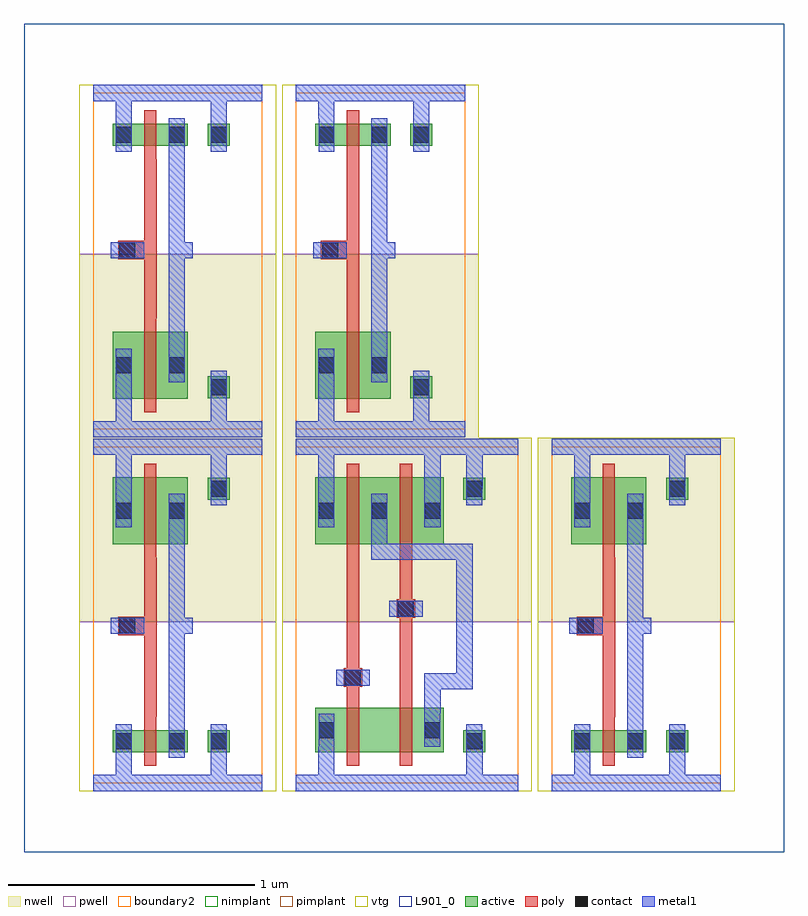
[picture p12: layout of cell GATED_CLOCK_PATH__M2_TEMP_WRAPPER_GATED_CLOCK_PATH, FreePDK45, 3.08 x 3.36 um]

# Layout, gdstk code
import gdstk
lib = gdstk.Library(unit=1e-6, precision=1e-09)
def R(c, l, rs):  # rectangles x0, y0, x1, y1
    for r in rs: c.add(gdstk.rectangle(r[:2], r[2:], *l))
active = (1, 0)
pwell = (2, 0)
nwell = (3, 0)
nimplant = (4, 0)
pimplant = (5, 0)
vtg = (6, 0)
poly = (9, 0)
contact = (10, 0)
metal1 = (11, 0)
boundary2 = (239, 0)
L901_0 = (901, 0)

gated_clock_path__gated_ = lib.new_cell('GATED_CLOCK_PATH__GATED_CLOCK_PATH__sram_1rw_32x16_freepdk45_contact_11')
R(gated_clock_path__gated_, active, [(0,0.022,0.09,0.112)])
R(gated_clock_path__gated_, nwell, [(-0.055,-0.033,0.145,0.168)])
R(gated_clock_path__gated_, pimplant, [(0,0.022,0.09,0.112)])
R(gated_clock_path__gated_, contact, [(0.013,0.035,0.077,0.1)])
R(gated_clock_path__gated_, metal1, [(0.013,0,0.077,0.135)])
R(gated_clock_path__gated_, boundary2, [(-0.055,-0.033,0.145,0.168)])

c_gated_clock_path__gated_ = lib.new_cell('GATED_CLOCK_PATH__GATED_CLOCK_PATH__sram_1rw_32x16_freepdk45_pmos_m1_w0_270_sm1_dm1_da_p')
R(c_gated_clock_path__gated_, active, [(0,0,0.305,0.27)])
R(c_gated_clock_path__gated_, nwell, [(-0.08,-0.08,0.385,0.35)])
R(c_gated_clock_path__gated_, pimplant, [(0,0,0.305,0.27)])
R(c_gated_clock_path__gated_, vtg, [(-0.08,-0.08,0.385,0.35)])
R(c_gated_clock_path__gated_, poly, [(0.127,-0.055,0.177,0.325), (0.127,-0.055,0.177,0.325)])
R(c_gated_clock_path__gated_, metal1, [(0.013,0.068,0.077,0.203), (0.227,0.068,0.292,0.203)])
R(c_gated_clock_path__gated_, boundary2, [(-0.08,-0.08,0.385,0.35)])
c_gated_clock_path__gated_.add(gdstk.Reference(gated_clock_path__gated_, (0,0.068)))
c_gated_clock_path__gated_.add(gdstk.Reference(gated_clock_path__gated_, (0.215,0.068)))
c_gated_clock_path__gated_.add(gdstk.Label('G', (0.152,0.135), layer=9, texttype=0))
c_gated_clock_path__gated_.add(gdstk.Label('S', (0.045,0.135), layer=11, texttype=0))
c_gated_clock_path__gated_.add(gdstk.Label('D', (0.26,0.135), layer=11, texttype=0))

c_gated_clock_path__gated__ = lib.new_cell('GATED_CLOCK_PATH__GATED_CLOCK_PATH__sram_1rw_32x16_freepdk45_contact_10')
R(c_gated_clock_path__gated__, active, [(0,0.022,0.09,0.112)])
R(c_gated_clock_path__gated__, pwell, [(-0.055,-0.033,0.145,0.168)])
R(c_gated_clock_path__gated__, nimplant, [(0,0.022,0.09,0.112)])
R(c_gated_clock_path__gated__, contact, [(0.013,0.035,0.077,0.1)])
R(c_gated_clock_path__gated__, metal1, [(0.013,0,0.077,0.135)])
R(c_gated_clock_path__gated__, boundary2, [(-0.055,-0.033,0.145,0.168)])

c_gated_clock_path__gated___ = lib.new_cell('GATED_CLOCK_PATH__GATED_CLOCK_PATH__sram_1rw_32x16_freepdk45_nmos_m1_w0_090_sm1_dm1_da_p')
R(c_gated_clock_path__gated___, active, [(0,0,0.305,0.09)])
R(c_gated_clock_path__gated___, pwell, [(-0.08,-0.08,0.385,0.17)])
R(c_gated_clock_path__gated___, nimplant, [(0,0,0.305,0.09)])
R(c_gated_clock_path__gated___, vtg, [(-0.08,-0.08,0.385,0.17)])
R(c_gated_clock_path__gated___, poly, [(0.127,-0.055,0.177,0.145), (0.127,-0.055,0.177,0.145)])
R(c_gated_clock_path__gated___, metal1, [(0.013,-0.022,0.077,0.112), (0.227,-0.022,0.292,0.112)])
R(c_gated_clock_path__gated___, boundary2, [(-0.08,-0.08,0.385,0.17)])
c_gated_clock_path__gated___.add(gdstk.Reference(c_gated_clock_path__gated__, (0,-0.022)))
c_gated_clock_path__gated___.add(gdstk.Reference(c_gated_clock_path__gated__, (0.215,-0.022)))
c_gated_clock_path__gated___.add(gdstk.Label('G', (0.152,0.045), layer=9, texttype=0))
c_gated_clock_path__gated___.add(gdstk.Label('S', (0.045,0.045), layer=11, texttype=0))
c_gated_clock_path__gated___.add(gdstk.Label('D', (0.26,0.045), layer=11, texttype=0))

c_gated_clock_path__gated____ = lib.new_cell('GATED_CLOCK_PATH__GATED_CLOCK_PATH__sram_1rw_32x16_freepdk45_contact_12')
R(c_gated_clock_path__gated____, active, [(0,0.022,0.09,0.112)])
R(c_gated_clock_path__gated____, nwell, [(-0.055,-0.033,0.145,0.168)])
R(c_gated_clock_path__gated____, nimplant, [(0,0.022,0.09,0.112)])
R(c_gated_clock_path__gated____, contact, [(0.013,0.035,0.077,0.1)])
R(c_gated_clock_path__gated____, metal1, [(0.013,0,0.077,0.135)])
R(c_gated_clock_path__gated____, boundary2, [(-0.055,-0.033,0.145,0.168)])

c_gated_clock_path__gated_____ = lib.new_cell('GATED_CLOCK_PATH__GATED_CLOCK_PATH__sram_1rw_32x16_freepdk45_contact_13')
R(c_gated_clock_path__gated_____, active, [(0,0.022,0.09,0.112)])
R(c_gated_clock_path__gated_____, pwell, [(-0.055,-0.033,0.145,0.168)])
R(c_gated_clock_path__gated_____, pimplant, [(0,0.022,0.09,0.112)])
R(c_gated_clock_path__gated_____, contact, [(0.013,0.035,0.077,0.1)])
R(c_gated_clock_path__gated_____, metal1, [(0.013,0,0.077,0.135)])
R(c_gated_clock_path__gated_____, boundary2, [(-0.055,-0.033,0.145,0.168)])

c_gated_clock_path__gated______ = lib.new_cell('GATED_CLOCK_PATH__GATED_CLOCK_PATH__sram_1rw_32x16_freepdk45_contact_14')
R(c_gated_clock_path__gated______, poly, [(0.03,0,0.105,0.075)])
R(c_gated_clock_path__gated______, contact, [(0.035,0.005,0.1,0.07)])
R(c_gated_clock_path__gated______, metal1, [(0,0.005,0.135,0.07)])
R(c_gated_clock_path__gated______, boundary2, [(0,0,0.135,0.075)])

c_gated_clock_path__gated_______ = lib.new_cell('GATED_CLOCK_PATH__GATED_CLOCK_PATH__gen_inv')
R(c_gated_clock_path__gated_______, pwell, [(-0.055,-0.033,0.743,0.655)])
R(c_gated_clock_path__gated_______, nwell, [(-0.055,0.655,0.743,1.4)])
R(c_gated_clock_path__gated_______, vtg, [(-0.055,-0.033,0.743,0.655), (-0.055,0.655,0.743,1.4)])
R(c_gated_clock_path__gated_______, poly, [(0.208,0.27,0.258,0.915), (0.14,0.6,0.208,0.675)])
R(c_gated_clock_path__gated_______, metal1, [(0,-0.033,0.687,0.033), (0.092,-0.033,0.157,0.103), (0.478,0,0.542,0.17), (0.307,0.103,0.372,1.173), (0.072,0.605,0.208,0.67), (0.34,0.605,0.405,0.67), (0.092,1.038,0.157,1.397), (0.478,1.195,0.542,1.365), (0,1.332,0.687,1.397)])
R(c_gated_clock_path__gated_______, boundary2, [(0,0,0.687,1.365), (0,0,0.687,1.365)])
c_gated_clock_path__gated_______.add(gdstk.Reference(c_gated_clock_path__gated_, (0.08,0.97)))
c_gated_clock_path__gated_______.add(gdstk.Reference(c_gated_clock_path__gated___, (0.08,0.125)))
c_gated_clock_path__gated_______.add(gdstk.Reference(c_gated_clock_path__gated____, (0.465,1.127)))
c_gated_clock_path__gated_______.add(gdstk.Reference(c_gated_clock_path__gated_____, (0.465,0.103)))
c_gated_clock_path__gated_______.add(gdstk.Reference(c_gated_clock_path__gated______, (0.072,0.6)))
c_gated_clock_path__gated_______.add(gdstk.Label('A', (0.14,0.638), layer=11, texttype=0))
c_gated_clock_path__gated_______.add(gdstk.Label('Z', (0.372,0.638), layer=11, texttype=0))
c_gated_clock_path__gated_______.add(gdstk.Label('gnd', (0.345,0), layer=11, texttype=0))
c_gated_clock_path__gated_______.add(gdstk.Label('vdd', (0.345,1.365), layer=11, texttype=0))

c_gated_clock_path__gated________ = lib.new_cell('GATED_CLOCK_PATH__GATED_CLOCK_PATH__sram_1rw_32x16_freepdk45_contact_11__gen_nand2')
R(c_gated_clock_path__gated________, active, [(0,0.022,0.09,0.112)])
R(c_gated_clock_path__gated________, nwell, [(-0.055,-0.033,0.145,0.168)])
R(c_gated_clock_path__gated________, pimplant, [(0,0.022,0.09,0.112)])
R(c_gated_clock_path__gated________, contact, [(0.013,0.035,0.077,0.1)])
R(c_gated_clock_path__gated________, metal1, [(0.013,0,0.077,0.135)])
R(c_gated_clock_path__gated________, boundary2, [(-0.055,-0.033,0.145,0.168)])

c_gated_clock_path__gated_________ = lib.new_cell('GATED_CLOCK_PATH__GATED_CLOCK_PATH__sram_1rw_32x16_freepdk45_pmos_m1_w0_270_sm1_dm1')
R(c_gated_clock_path__gated_________, active, [(0,0,0.305,0.27)])
R(c_gated_clock_path__gated_________, nwell, [(-0.08,-0.08,0.385,0.35)])
R(c_gated_clock_path__gated_________, pimplant, [(0,0,0.305,0.27)])
R(c_gated_clock_path__gated_________, vtg, [(-0.08,-0.08,0.385,0.35)])
R(c_gated_clock_path__gated_________, poly, [(0.127,-0.055,0.177,0.325), (0.127,-0.055,0.177,0.325)])
R(c_gated_clock_path__gated_________, metal1, [(0.013,0.068,0.077,0.203), (0.227,0.068,0.292,0.203)])
R(c_gated_clock_path__gated_________, boundary2, [(-0.08,-0.08,0.385,0.35)])
c_gated_clock_path__gated_________.add(gdstk.Reference(c_gated_clock_path__gated________, (0,0.068)))
c_gated_clock_path__gated_________.add(gdstk.Reference(c_gated_clock_path__gated________, (0.215,0.068)))
c_gated_clock_path__gated_________.add(gdstk.Label('G', (0.152,0.135), layer=9, texttype=0))
c_gated_clock_path__gated_________.add(gdstk.Label('S', (0.045,0.135), layer=11, texttype=0))
c_gated_clock_path__gated_________.add(gdstk.Label('D', (0.26,0.135), layer=11, texttype=0))

c_gated_clock_path__gated__________ = lib.new_cell('GATED_CLOCK_PATH__GATED_CLOCK_PATH__sram_1rw_32x16_freepdk45_contact_10__gen_nand2')
R(c_gated_clock_path__gated__________, active, [(0,0.022,0.09,0.112)])
R(c_gated_clock_path__gated__________, pwell, [(-0.055,-0.033,0.145,0.168)])
R(c_gated_clock_path__gated__________, nimplant, [(0,0.022,0.09,0.112)])
R(c_gated_clock_path__gated__________, contact, [(0.013,0.035,0.077,0.1)])
R(c_gated_clock_path__gated__________, metal1, [(0.013,0,0.077,0.135)])
R(c_gated_clock_path__gated__________, boundary2, [(-0.055,-0.033,0.145,0.168)])

c_gated_clock_path__gated___________ = lib.new_cell('GATED_CLOCK_PATH__GATED_CLOCK_PATH__sram_1rw_32x16_freepdk45_nmos_m1_w0_180_sm1_dactive')
R(c_gated_clock_path__gated___________, active, [(0,0,0.305,0.18), (0.215,0.045,0.305,0.135)])
R(c_gated_clock_path__gated___________, pwell, [(-0.08,-0.08,0.385,0.26)])
R(c_gated_clock_path__gated___________, nimplant, [(0,0,0.305,0.18)])
R(c_gated_clock_path__gated___________, vtg, [(-0.08,-0.08,0.385,0.26)])
R(c_gated_clock_path__gated___________, poly, [(0.127,-0.055,0.177,0.235), (0.127,-0.055,0.177,0.235)])
R(c_gated_clock_path__gated___________, metal1, [(0.013,0.022,0.077,0.157)])
R(c_gated_clock_path__gated___________, boundary2, [(-0.08,-0.08,0.385,0.26)])
c_gated_clock_path__gated___________.add(gdstk.Reference(c_gated_clock_path__gated__________, (0,0.022)))
c_gated_clock_path__gated___________.add(gdstk.Label('G', (0.152,0.09), layer=9, texttype=0))
c_gated_clock_path__gated___________.add(gdstk.Label('S', (0.045,0.09), layer=11, texttype=0))
c_gated_clock_path__gated___________.add(gdstk.Label('D', (0.26,0.09), layer=1, texttype=0))

c_gated_clock_path__gated____________ = lib.new_cell('GATED_CLOCK_PATH__GATED_CLOCK_PATH__sram_1rw_32x16_freepdk45_nmos_m1_w0_180_sactive_dm1')
R(c_gated_clock_path__gated____________, active, [(0,0,0.305,0.18), (0,0.045,0.09,0.135)])
R(c_gated_clock_path__gated____________, pwell, [(-0.08,-0.08,0.385,0.26)])
R(c_gated_clock_path__gated____________, nimplant, [(0,0,0.305,0.18)])
R(c_gated_clock_path__gated____________, vtg, [(-0.08,-0.08,0.385,0.26)])
R(c_gated_clock_path__gated____________, poly, [(0.127,-0.055,0.177,0.235), (0.127,-0.055,0.177,0.235)])
R(c_gated_clock_path__gated____________, metal1, [(0.227,0.022,0.292,0.157)])
R(c_gated_clock_path__gated____________, boundary2, [(-0.08,-0.08,0.385,0.26)])
c_gated_clock_path__gated____________.add(gdstk.Reference(c_gated_clock_path__gated__________, (0.215,0.022)))
c_gated_clock_path__gated____________.add(gdstk.Label('G', (0.152,0.09), layer=9, texttype=0))
c_gated_clock_path__gated____________.add(gdstk.Label('S', (0.045,0.09), layer=1, texttype=0))
c_gated_clock_path__gated____________.add(gdstk.Label('D', (0.26,0.09), layer=11, texttype=0))

c_gated_clock_path__gated_____________ = lib.new_cell('GATED_CLOCK_PATH__GATED_CLOCK_PATH__gen_nand2')
R(c_gated_clock_path__gated_____________, pwell, [(-0.055,-0.033,0.957,0.655)])
R(c_gated_clock_path__gated_____________, nwell, [(-0.055,0.655,0.957,1.4)])
R(c_gated_clock_path__gated_____________, vtg, [(-0.055,-0.033,0.957,0.655), (-0.055,0.655,0.957,1.4)])
R(c_gated_clock_path__gated_____________, poly, [(0.208,0.36,0.258,0.915), (0.422,0.36,0.473,0.915), (0.208,0.39,0.232,0.465), (0.422,0.67,0.447,0.745)])
R(c_gated_clock_path__gated_____________, metal1, [(0,-0.033,0.902,0.033), (0.092,-0.033,0.157,0.147), (0.692,0,0.758,0.17), (0.522,0.283,0.588,0.413), (0.522,0.38,0.588,0.445), (0.555,0.38,0.685,0.445), (0.652,0.38,0.718,0.445), (0.165,0.395,0.3,0.46), (0.652,0.413,0.718,0.94), (0.38,0.675,0.515,0.74), (0.307,0.907,0.372,0.972), (0.34,0.907,0.685,0.972), (0.652,0.907,0.718,0.972), (0.307,0.94,0.372,1.038), (0.092,1.038,0.157,1.397), (0.522,1.038,0.588,1.397), (0.692,1.195,0.758,1.365), (0,1.332,0.902,1.397)])
R(c_gated_clock_path__gated_____________, boundary2, [(0,0,0.902,1.365), (0,0,0.902,1.365)])
c_gated_clock_path__gated_____________.add(gdstk.Reference(c_gated_clock_path__gated_________, (0.08,0.97)))
c_gated_clock_path__gated_____________.add(gdstk.Reference(c_gated_clock_path__gated_________, (0.295,0.97)))
c_gated_clock_path__gated_____________.add(gdstk.Reference(c_gated_clock_path__gated___________, (0.08,0.125)))
c_gated_clock_path__gated_____________.add(gdstk.Reference(c_gated_clock_path__gated____________, (0.295,0.125)))
c_gated_clock_path__gated_____________.add(gdstk.Reference(c_gated_clock_path__gated____, (0.68,1.127)))
c_gated_clock_path__gated_____________.add(gdstk.Reference(c_gated_clock_path__gated_____, (0.68,0.103)))
c_gated_clock_path__gated_____________.add(gdstk.Reference(c_gated_clock_path__gated______, (0.165,0.39)))
c_gated_clock_path__gated_____________.add(gdstk.Reference(c_gated_clock_path__gated______, (0.38,0.67)))
c_gated_clock_path__gated_____________.add(gdstk.Label('Z', (0.685,0.94), layer=11, texttype=0))
c_gated_clock_path__gated_____________.add(gdstk.Label('gnd', (0.45,0), layer=11, texttype=0))
c_gated_clock_path__gated_____________.add(gdstk.Label('vdd', (0.45,1.365), layer=11, texttype=0))
c_gated_clock_path__gated_____________.add(gdstk.Label('A', (0.232,0.427), layer=11, texttype=0))
c_gated_clock_path__gated_____________.add(gdstk.Label('B', (0.447,0.707), layer=11, texttype=0))

c_gated_clock_path__gated______________ = lib.new_cell('GATED_CLOCK_PATH__GATED_CLOCK_PATH__GATED_CLOCK_PATH')
c_gated_clock_path__gated______________.add(gdstk.Reference(c_gated_clock_path__gated_______, (0.08,0.08)))
c_gated_clock_path__gated______________.add(gdstk.Reference(c_gated_clock_path__gated_____________, (0.902,0.08)))
c_gated_clock_path__gated______________.add(gdstk.Reference(c_gated_clock_path__gated_______, (1.94,0.08)))
c_gated_clock_path__gated______________.add(gdstk.Reference(c_gated_clock_path__gated_______, (0.08,2.88), x_reflection=True))
c_gated_clock_path__gated______________.add(gdstk.Reference(c_gated_clock_path__gated_______, (0.902,2.88), x_reflection=True))

gated_clock_path__m2_tem = lib.new_cell('GATED_CLOCK_PATH__M2_TEMP_WRAPPER_GATED_CLOCK_PATH')
R(gated_clock_path__m2_tem, L901_0, [(-0.2,-0.2,2.883,3.16)])
gated_clock_path__m2_tem.add(gdstk.Reference(c_gated_clock_path__gated______________, (0,0)))
gated_clock_path__m2_tem.add(gdstk.Label('TEMP_WRAPPER_FOR_M2_REVIEW', (0,3.46), layer=900, texttype=0))
gated_clock_path__m2_tem.add(gdstk.Label('GATED_CLOCK_PATH candidate composite', (0,4.06), layer=900, texttype=0))

lib.write_gds('GATED_CLOCK_PATH__M2_TEMP_WRAPPER_GATED_CLOCK_PATH.gds')
